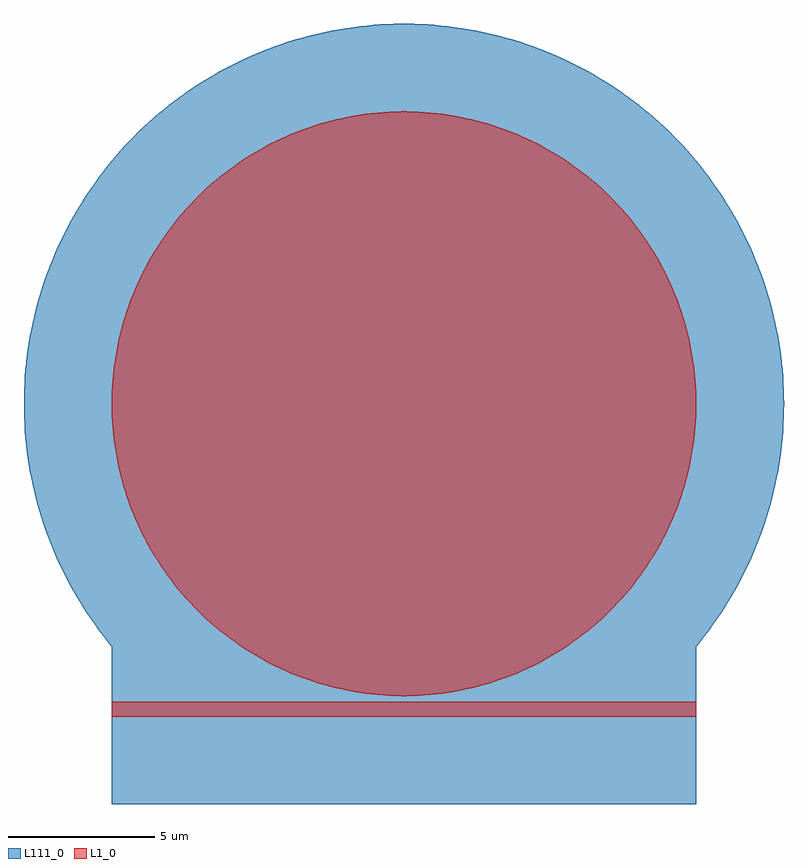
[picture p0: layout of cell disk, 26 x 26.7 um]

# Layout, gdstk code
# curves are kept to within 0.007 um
import gdstk
lib = gdstk.Library(unit=1e-6, precision=1e-09)
def R(c, l, rs):  # rectangles x0, y0, x1, y1
    for r in rs: c.add(gdstk.rectangle(r[:2], r[2:], *l))
def P(c, l, *ps):  # polygons
    for p in ps: c.add(gdstk.Polygon(p, *l))
L1_0 = (1, 0)
L111_0 = (111, 0)

disk = lib.new_cell('disk')
R(disk, L1_0, [(0,-0.25,20,0.25)])
P(disk, L1_0, [(10,10.45),(20,10.45),(19.982,11.058),(19.949,11.462),(19.9,11.864),(19.795,12.463),(19.655,13.055),(19.541,13.444),(19.342,14.018),(19.19,14.394),(18.933,14.945),(18.743,15.303),(18.54,15.653),(18.208,16.163),(17.969,16.491),(17.588,16.964),(17.317,17.266),(17.035,17.557),(16.741,17.836),(16.28,18.232),(15.96,18.48),(15.461,18.827),(15.117,19.042),(14.585,19.337),(14.221,19.515),(13.85,19.679),(13.473,19.828),(12.897,20.021),(12.31,20.18),(11.914,20.265),(11.514,20.335),(11.112,20.388),(10.709,20.425),(10.101,20.449),(9.494,20.437),(9.089,20.408),(8.486,20.335),(8.086,20.265),(7.69,20.18),(7.103,20.021),(6.527,19.828),(6.15,19.679),(5.596,19.428),(5.236,19.242),(4.883,19.042),(4.539,18.827),(4.204,18.599),(3.72,18.232),(3.41,17.971),(3.11,17.698),(2.822,17.413),(2.546,17.116),(2.282,16.809),(2.031,16.491),(1.678,15.995),(1.46,15.653),(1.257,15.303),(1.067,14.945),(0.892,14.579),(0.658,14.018),(0.521,13.636),(0.4,13.25),(0.294,12.858),(0.205,12.463),(0.1,11.864),(0.051,11.462),(0.018,11.058),(0,10.45)],
  [(10,10.45),(0,10.45),(0.018,9.842),(0.051,9.438),(0.1,9.036),(0.205,8.437),(0.345,7.845),(0.459,7.456),(0.658,6.882),(0.81,6.506),(1.067,5.955),(1.257,5.597),(1.46,5.247),(1.792,4.737),(2.031,4.409),(2.412,3.936),(2.683,3.634),(2.965,3.343),(3.259,3.064),(3.72,2.668),(4.04,2.42),(4.539,2.073),(4.883,1.858),(5.415,1.563),(5.779,1.385),(6.15,1.221),(6.527,1.072),(7.103,0.879),(7.69,0.72),(8.086,0.635),(8.486,0.565),(8.888,0.512),(9.291,0.475),(9.899,0.451),(10.506,0.463),(10.911,0.492),(11.514,0.565),(11.914,0.635),(12.31,0.72),(12.897,0.879),(13.473,1.072),(13.85,1.221),(14.404,1.472),(14.764,1.658),(15.117,1.858),(15.461,2.073),(15.796,2.301),(16.28,2.668),(16.59,2.929),(16.89,3.202),(17.178,3.487),(17.454,3.784),(17.718,4.091),(17.969,4.409),(18.322,4.905),(18.54,5.247),(18.743,5.597),(18.933,5.955),(19.108,6.321),(19.342,6.882),(19.479,7.264),(19.6,7.65),(19.706,8.042),(19.795,8.437),(19.9,9.036),(19.949,9.438),(19.982,9.842),(20,10.45)])
R(disk, L111_0, [(0,-3.25,20,3.25)])
P(disk, L111_0, [(10,10.45),(23,10.45),(22.982,11.142),(22.949,11.602),(22.9,12.061),(22.796,12.745),(22.706,13.198),(22.601,13.647),(22.413,14.313),(22.268,14.751),(22.107,15.184),(21.932,15.611),(21.741,16.031),(21.536,16.444),(21.316,16.85),(20.959,17.443),(20.704,17.828),(20.296,18.387),(19.859,18.923),(19.552,19.268),(19.069,19.764),(18.561,20.233),(18.028,20.675),(17.472,21.088),(16.895,21.471),(16.299,21.822),(15.892,22.038),(15.477,22.24),(14.841,22.515),(14.192,22.755),(13.532,22.961),(12.861,23.131),(12.182,23.266),(11.496,23.364),(11.037,23.409),(10.346,23.445),(9.654,23.445),(8.963,23.409),(8.504,23.364),(7.818,23.266),(7.365,23.18),(6.691,23.022),(6.027,22.828),(5.374,22.599),(4.945,22.427),(4.315,22.141),(3.701,21.822),(3.105,21.471),(2.718,21.219),(2.34,20.954),(1.972,20.675),(1.614,20.384),(1.267,20.08),(0.931,19.764),(0.448,19.268),(0.141,18.923),(-0.154,18.568),(-0.435,18.203),(-0.704,17.828),(-0.959,17.443),(-1.2,17.05),(-1.536,16.444),(-1.741,16.031),(-1.932,15.611),(-2.107,15.184),(-2.268,14.751),(-2.413,14.313),(-2.542,13.87),(-2.655,13.423),(-2.753,12.972),(-2.834,12.518),(-2.9,12.061),(-2.949,11.602),(-2.982,11.142),(-3,10.45)],
  [(10,10.45),(-3,10.45),(-2.982,9.758),(-2.949,9.298),(-2.9,8.839),(-2.796,8.155),(-2.706,7.702),(-2.601,7.253),(-2.413,6.587),(-2.268,6.149),(-2.107,5.716),(-1.932,5.289),(-1.741,4.869),(-1.536,4.456),(-1.316,4.05),(-0.959,3.457),(-0.704,3.072),(-0.296,2.513),(0.141,1.977),(0.448,1.632),(0.931,1.136),(1.439,0.667),(1.972,0.225),(2.528,-0.188),(3.105,-0.571),(3.701,-0.922),(4.108,-1.138),(4.523,-1.34),(5.159,-1.615),(5.808,-1.855),(6.468,-2.061),(7.139,-2.231),(7.818,-2.366),(8.504,-2.464),(8.963,-2.509),(9.654,-2.545),(10.346,-2.545),(11.037,-2.509),(11.496,-2.464),(12.182,-2.366),(12.635,-2.28),(13.309,-2.122),(13.973,-1.928),(14.626,-1.699),(15.055,-1.527),(15.685,-1.241),(16.299,-0.922),(16.895,-0.571),(17.282,-0.319),(17.66,-0.054),(18.028,0.225),(18.386,0.516),(18.733,0.82),(19.069,1.136),(19.552,1.632),(19.859,1.977),(20.154,2.332),(20.435,2.697),(20.704,3.072),(20.959,3.457),(21.2,3.85),(21.536,4.456),(21.741,4.869),(21.932,5.289),(22.107,5.716),(22.268,6.149),(22.413,6.587),(22.542,7.03),(22.655,7.477),(22.753,7.928),(22.834,8.382),(22.9,8.839),(22.949,9.298),(22.982,9.758),(23,10.45)])

lib.write_gds('disk.gds')
